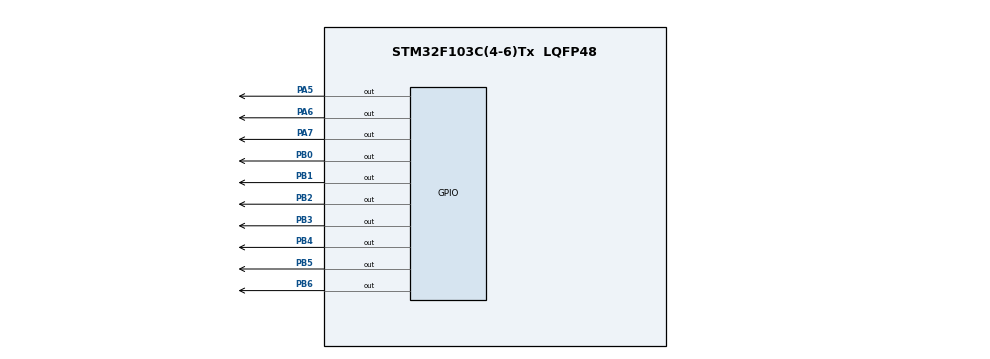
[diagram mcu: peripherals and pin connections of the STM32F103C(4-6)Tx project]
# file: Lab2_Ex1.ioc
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Mcu.Family=STM32F1
Mcu.Name=STM32F103C(4-6)Tx
Mcu.Package=LQFP48
NVIC.PriorityGroup=NVIC_PRIORITYGROUP_4
NVIC.TIM2_IRQn=true\:0\:0\:false\:false\:true\:true\:true
PA5.Signal=GPIO_Output
PA6.Signal=GPIO_Output
PA7.Signal=GPIO_Output
PB0.Signal=GPIO_Output
PB1.Signal=GPIO_Output
PB2.Signal=GPIO_Output
PB3.Signal=GPIO_Output
PB4.Signal=GPIO_Output
PB5.Signal=GPIO_Output
PB6.Signal=GPIO_Output
PD0-OSC_IN.Mode=HSE-External-Oscillator
PD0-OSC_IN.Signal=RCC_OSC_IN
PD1-OSC_OUT.Mode=HSE-External-Oscillator
PD1-OSC_OUT.Signal=RCC_OSC_OUT
ProjectManager.HeapSize=0x200
ProjectManager.StackSize=0x400
ProjectManager.TargetToolchain=STM32CubeIDE
RCC.APB1Freq_Value=8000000
RCC.APB2Freq_Value=8000000
TIM2.Period=9
TIM2.Prescaler=7999
VP_SYS_VS_ND.Mode=No_Debug
VP_TIM2_VS_ClockSourceINT.Mode=Internal
board=custom

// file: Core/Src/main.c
/* USER CODE BEGIN Header */
/**
  ******************************************************************************
  * @file           : main.c
  * @brief          : Main program body
  ******************************************************************************
  * @attention
  *
  * <h2><center>&copy; Copyright (c) 2021 STMicroelectronics.
  * All rights reserved.</center></h2>
  *
  * This software component is licensed by ST under BSD 3-Clause license,
  * the "License"; You may not use this file except in compliance with the
  * License. You may obtain a copy of the License at:
  *                        opensource.org/licenses/BSD-3-Clause
  *
  ******************************************************************************
  */
/* USER CODE END Header */
#include "main.h"

TIM_HandleTypeDef htim2;

void SystemClock_Config(void);
static void MX_GPIO_Init(void);
static void MX_TIM2_Init(void);

/* USER CODE BEGIN 0 */
uint8_t segmentNumber[10] = {
		0x40,  // 0
		0x79,  // 1
		0x24,  // 2
		0x30,  // 3
		0x19,  // 4
		0x12,  // 5
		0x02,  // 6
		0x78,  // 7
		0x00,  // 8
		0x10   // 9
};

void display7SEG(uint8_t number){
	HAL_GPIO_WritePin(GPIOB, GPIO_PIN_0, ((number>>0)&0x01));
	HAL_GPIO_WritePin(GPIOB, GPIO_PIN_1, ((number>>1)&0x01));
	HAL_GPIO_WritePin(GPIOB, GPIO_PIN_2, ((number>>2)&0x01));
	HAL_GPIO_WritePin(GPIOB, GPIO_PIN_3, ((number>>3)&0x01));
	HAL_GPIO_WritePin(GPIOB, GPIO_PIN_4, ((number>>4)&0x01));
	HAL_GPIO_WritePin(GPIOB, GPIO_PIN_5, ((number>>5)&0x01));
	HAL_GPIO_WritePin(GPIOB, GPIO_PIN_6, ((number>>6)&0x01));
}

/* USER CODE END 0 */

int main(void)
{

  /* MCU Configuration--------------------------------------------------------*/

  /* Reset of all peripherals, Initializes the Flash interface and the Systick. */
  HAL_Init();

  /* Configure the system clock */
  SystemClock_Config();

  /* Initialize all configured peripherals */
  MX_GPIO_Init();
  MX_TIM2_Init();
  /* USER CODE BEGIN 2 */
  HAL_TIM_Base_Start_IT (&htim2) ;
  /* USER CODE END 2 */

  /* Infinite loop */
  while (1)
  {
	 // HAL_TIM_PeriodElapsedCallback (&htim2);
  }
}

void SystemClock_Config(void)
{
  RCC_OscInitTypeDef RCC_OscInitStruct = {0};
  RCC_ClkInitTypeDef RCC_ClkInitStruct = {0};

  /** Initializes the RCC Oscillators according to the specified parameters
  * in the RCC_OscInitTypeDef structure.
  */
  RCC_OscInitStruct.OscillatorType = RCC_OSCILLATORTYPE_HSI;
  RCC_OscInitStruct.HSIState = RCC_HSI_ON;
  RCC_OscInitStruct.HSICalibrationValue = RCC_HSICALIBRATION_DEFAULT;
  RCC_OscInitStruct.PLL.PLLState = RCC_PLL_NONE;
  if (HAL_RCC_OscConfig(&RCC_OscInitStruct) != HAL_OK)
  {
    Error_Handler();
  }
  /** Initializes the CPU, AHB and APB buses clocks
  */
  RCC_ClkInitStruct.ClockType = RCC_CLOCKTYPE_HCLK|RCC_CLOCKTYPE_SYSCLK
                              |RCC_CLOCKTYPE_PCLK1|RCC_CLOCKTYPE_PCLK2;
  RCC_ClkInitStruct.SYSCLKSource = RCC_SYSCLKSOURCE_HSI;
  RCC_ClkInitStruct.AHBCLKDivider = RCC_SYSCLK_DIV1;
  RCC_ClkInitStruct.APB1CLKDivider = RCC_HCLK_DIV1;
  RCC_ClkInitStruct.APB2CLKDivider = RCC_HCLK_DIV1;

  if (HAL_RCC_ClockConfig(&RCC_ClkInitStruct, FLASH_LATENCY_0) != HAL_OK)
  {
    Error_Handler();
  }
}

static void MX_TIM2_Init(void)
{

  TIM_ClockConfigTypeDef sClockSourceConfig = {0};
  TIM_MasterConfigTypeDef sMasterConfig = {0};

  htim2.Instance = TIM2;
  htim2.Init.Prescaler = 7999;
  htim2.Init.CounterMode = TIM_COUNTERMODE_UP;
  htim2.Init.Period = 9;
  htim2.Init.ClockDivision = TIM_CLOCKDIVISION_DIV1;
  htim2.Init.AutoReloadPreload = TIM_AUTORELOAD_PRELOAD_DISABLE;
  if (HAL_TIM_Base_Init(&htim2) != HAL_OK)
  {
    Error_Handler();
  }
  sClockSourceConfig.ClockSource = TIM_CLOCKSOURCE_INTERNAL;
  if (HAL_TIM_ConfigClockSource(&htim2, &sClockSourceConfig) != HAL_OK)
  {
    Error_Handler();
  }
  sMasterConfig.MasterOutputTrigger = TIM_TRGO_RESET;
  sMasterConfig.MasterSlaveMode = TIM_MASTERSLAVEMODE_DISABLE;
  if (HAL_TIMEx_MasterConfigSynchronization(&htim2, &sMasterConfig) != HAL_OK)
  {
    Error_Handler();
  }

}

static void MX_GPIO_Init(void)
{
  GPIO_InitTypeDef GPIO_InitStruct = {0};

  /* GPIO Ports Clock Enable */
  __HAL_RCC_GPIOD_CLK_ENABLE();
  __HAL_RCC_GPIOA_CLK_ENABLE();
  __HAL_RCC_GPIOB_CLK_ENABLE();

  /*Configure GPIO pin Output Level */
  HAL_GPIO_WritePin(GPIOA, GPIO_PIN_5|GPIO_PIN_6|GPIO_PIN_7, GPIO_PIN_RESET);

  /*Configure GPIO pin Output Level */
  HAL_GPIO_WritePin(GPIOB, GPIO_PIN_0|GPIO_PIN_1|GPIO_PIN_2|GPIO_PIN_3
                          |GPIO_PIN_4|GPIO_PIN_5|GPIO_PIN_6, GPIO_PIN_RESET);

  /*Configure GPIO pins : PA5 PA6 PA7 */
  GPIO_InitStruct.Pin = GPIO_PIN_5|GPIO_PIN_6|GPIO_PIN_7;
  GPIO_InitStruct.Mode = GPIO_MODE_OUTPUT_PP;
  GPIO_InitStruct.Pull = GPIO_NOPULL;
  GPIO_InitStruct.Speed = GPIO_SPEED_FREQ_LOW;
  HAL_GPIO_Init(GPIOA, &GPIO_InitStruct);

  /*Configure GPIO pins : PB0 PB1 PB2 PB3
                           PB4 PB5 PB6 */
  GPIO_InitStruct.Pin = GPIO_PIN_0|GPIO_PIN_1|GPIO_PIN_2|GPIO_PIN_3
                          |GPIO_PIN_4|GPIO_PIN_5|GPIO_PIN_6;
  GPIO_InitStruct.Mode = GPIO_MODE_OUTPUT_PP;
  GPIO_InitStruct.Pull = GPIO_NOPULL;
  GPIO_InitStruct.Speed = GPIO_SPEED_FREQ_LOW;
  HAL_GPIO_Init(GPIOB, &GPIO_InitStruct);

}
int counter = 100;
/* USER CODE BEGIN 4 */
void HAL_TIM_PeriodElapsedCallback (TIM_HandleTypeDef * htim)
{
	counter --;
	if( counter >= 50) {
		display7SEG(segmentNumber[1]);
		HAL_GPIO_WritePin(GPIOA, GPIO_PIN_6,0);
		HAL_GPIO_WritePin(GPIOA, GPIO_PIN_7,1);
	}
	else if(counter < 50 &&  counter >= 0) {
		display7SEG(segmentNumber[2]);
		HAL_GPIO_WritePin(GPIOA, GPIO_PIN_6,1);
		HAL_GPIO_WritePin(GPIOA, GPIO_PIN_7,0);
	}
	else {
		counter = 100;
		HAL_GPIO_TogglePin (GPIOA , GPIO_PIN_5);
	}
}
/* USER CODE END 4 */

void Error_Handler(void)
{
  __disable_irq();
  while (1)
  {
  }
}

/************************ (C) COPYRIGHT STMicroelectronics *****END OF FILE****/
